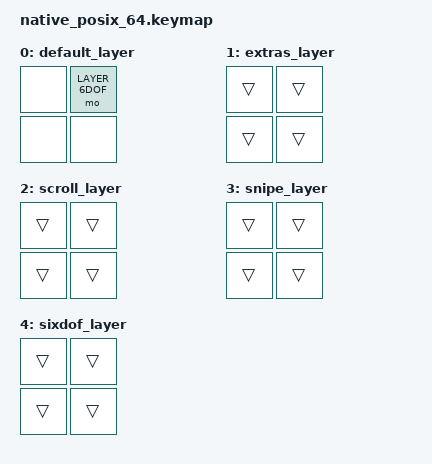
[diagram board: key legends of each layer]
/*
 * 6DOF test: pure X-motion on sensor1 produces non-zero Rx/Ry/Rz rotation.
 *
 * Sensor1 DT pos [0x31,0x4B,0x2D] with r=102.
 * After mixer rotation matrix: surface_p1 ≈ (-63, -42, -67).
 * Motion: dx=100, dy=0 → after rotation matrix and cross-product:
 *   expected: rx=-10 ry=-49 rz=40  (verified from actual run)
 *
 * ENSURE_SYNC disabled so sensor1's events reach process_and_report
 * without waiting for sensor2 to arrive in the same window.
 * sensor2 fires with dx=0 dy=0 (no contribution).
 * Layer 6DOF is held via &mo LAYER_6DOF at key position 1.
 */

#include <behaviors.dtsi>
#include <dt-bindings/zmk/keys.h>
#include <dt-bindings/zmk/kscan_mock.h>
#include <dt-bindings/zmk/pointing.h>
#include <dt-bindings/zmk/p2sm.h>
#include <zephyr/dt-bindings/input/input-event-codes.h>

#define LAYER_6DOF 4

/ {
    /* Two mock sensors — mirror the real hardware listener setup */
    mock_s1: mock_sensor_1 {
        compatible = "zmk,input-mock-sensor";
        /* (dx dy delay_ms): wait 50ms, then fire dx=100 dy=0 */
        events = <100 0 50>;
    };

    mock_s2: mock_sensor_2 {
        compatible = "zmk,input-mock-sensor";
        /* fire same time as s1 (50ms), zero motion — just to satisfy sync */
        events = <0 0 50>;
    };

    s1_listener: s1_listener {
        compatible = "zmk,input-listener";
        device = <&mock_s1>;
        input-processors = <&zip_2s_mixer INPUT_MIXER_SENSOR1>;
    };

    s2_listener: s2_listener {
        compatible = "zmk,input-listener";
        device = <&mock_s2>;
        input-processors = <&zip_2s_mixer INPUT_MIXER_SENSOR2>;
    };

    zip_2s_mixer: zip_2s_mixer {
        compatible = "zmk,pointer-2s-mixer";
        #input-processor-cells = <1>;
        status = "okay";
        sync-report-ms = <0>;
        sync-scroll-report-ms = <8>;
        twist-thres = <3>;
        twist-interference-thres = <200>;
        ball-radius = <102>;
        sensor1-pos = [31 4B 2D];
        sensor2-pos = [C1 3C 2D];
    };

    keymap {
        compatible = "zmk,keymap";

        default_layer {
            bindings = <
                &none        &mo LAYER_6DOF
                &none        &none
            >;
        };

        extras_layer   { bindings = <&trans &trans &trans &trans>; };
        scroll_layer   { bindings = <&trans &trans &trans &trans>; };
        snipe_layer    { bindings = <&trans &trans &trans &trans>; };

        sixdof_layer {
            bindings = <
                &trans &trans
                &trans &trans
            >;
        };
    };
};

/*
 * Hold key (0,1) = &mo LAYER_6DOF, wait 30ms (sensors fire at 50ms).
 * Release key after sensors have fired (200ms total).
 */
&kscan {
    events = <
        ZMK_MOCK_PRESS(0,1,30)      /* hold 6DOF layer — wait 30ms */
        ZMK_MOCK_RELEASE(0,1,200)   /* release after sensors have fired */
    >;
};
